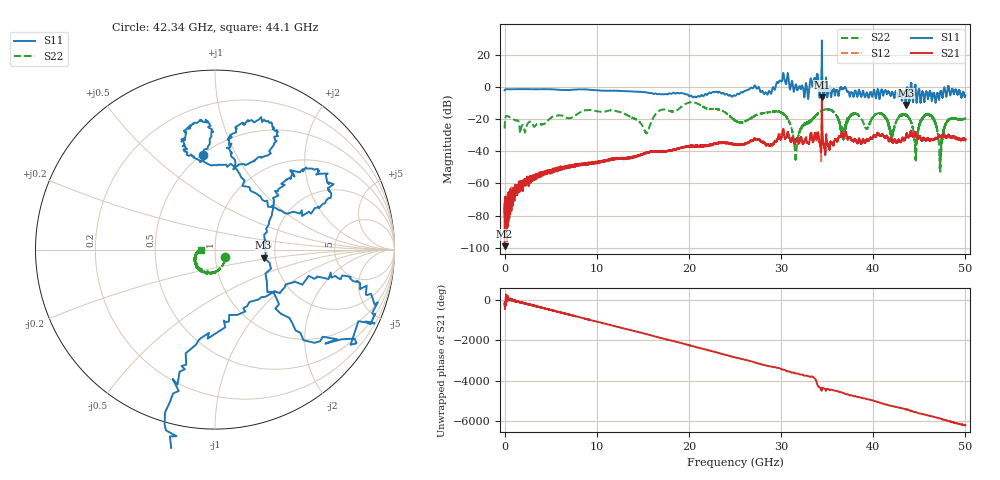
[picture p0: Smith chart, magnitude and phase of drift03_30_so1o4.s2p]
!Created with skrf (http://scikit-rf.org).
# Hz S RI R 50.0
!freq ReS11 ImS11 ReS21 ImS21 ReS12 ImS12 ReS22 ImS22
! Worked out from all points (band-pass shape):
!   10000 points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, 5.3 MHz to 50 GHz, reference 50 ohm
!   highest |S21| = -6.34 dB at 34.43 GHz (marker M1); lowest = -99.0 dB at 5.3 MHz (marker M2)
!   |S21| within 3 dB of the highest: 34.42759 GHz to 34.43529 GHz (7.691 MHz wide, 0.0223 % of centre)
!   lowest |S11| = -11.2 dB at 43.53 GHz (marker M3), VSWR 1.75, Z = 86.6 - j8.33 ohm
!   |S11| at or under -10 dB: 43.49314 GHz to 43.53985 GHz (46.71 MHz wide, 0.107 % of centre); 43.54865 GHz to 43.55098 GHz (2.323 MHz wide, 0.00533 % of centre)
!   |S22| runs from -52.7 to -9.4 dB; largest |S21 - S12| = 0.13
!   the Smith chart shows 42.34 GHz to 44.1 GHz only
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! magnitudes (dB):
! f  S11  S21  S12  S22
! 5.3 MHz  -2.1  -99.0  -78.9  -25.8
! 1.98 GHz  -1.3  -59.1  -61.1  -23.7
! 8.34 GHz  -1.5  -47.6  -48.1  -15.3
! 12.46 GHz  -2.5  -44.4  -44.8  -15.5
! 15.39 GHz  -3.4  -41.0  -40.6  -28.8
! 16.67 GHz  -4.4  -40.1  -39.9  -15.3
! 20.45 GHz  -6.5  -36.7  -36.6  -9.5
! 25.01 GHz  -5.5  -36.2  -36.0  -20.9
! 29.96 GHz  3.9  -32.5  -32.1  -15.8
! 31.6 GHz  1.5  -33.9  -34.0  -44.8
! 33.34 GHz  2.6  -30.2  -30.7  -20.2
! 34.43 GHz  28.9  -6.3  -8.1  -14.6
! 36.69 GHz  -1.3  -29.9  -29.9  -28.4
! 37.95 GHz  -3.9  -32.7  -32.8  -16.4
! 41.67 GHz  -3.0  -33.2  -33.3  -23.3
! 43.53 GHz  -11.2  -31.1  -30.9  -17.4
! 44.61 GHz  -1.3  -28.6  -29.1  -43.1
! 45.3 GHz  -3.3  -33.4  -33.3  -19.8
! 46.28 GHz  -5.8  -32.6  -32.5  -18.0
! 47.29 GHz  -2.9  -31.0  -31.0  -46.1
! 48.11 GHz  0.0  -30.6  -30.1  -20.8
! 50 GHz  -5.3  -32.7  -32.2  -19.7
